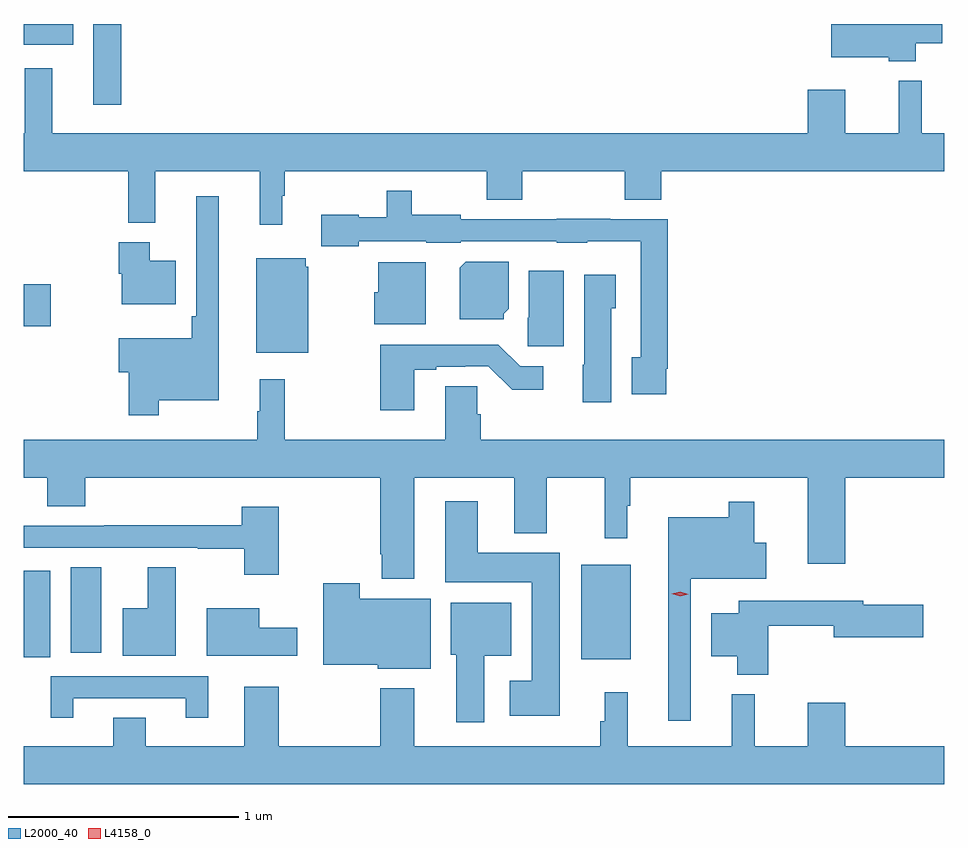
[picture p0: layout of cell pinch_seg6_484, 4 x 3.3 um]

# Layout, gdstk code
import gdstk
lib = gdstk.Library(unit=1e-6, precision=1e-09)
def R(c, l, rs):  # rectangles x0, y0, x1, y1
    for r in rs: c.add(gdstk.rectangle(r[:2], r[2:], *l))
def P(c, l, *ps):  # polygons
    for p in ps: c.add(gdstk.Polygon(p, *l))
L2000_40 = (2000, 40)
L4158_0 = (4158, 0)

pinch_seg6_484 = lib.new_cell('pinch_seg6_484')
R(pinch_seg6_484, L2000_40, [(847.34,939.887,847.555,940.297), (844.917,939.894,845.032,940.27), (845.12,939.915,845.254,940.286), (844.917,941.333,845.035,941.516), (845.219,942.297,845.341,942.647), (844.917,942.557,845.131,942.647)])
P(pinch_seg6_484, L2000_40, [(848.794,942.563),(848.908,942.563),(848.908,942.647),(848.426,942.647),(848.426,942.503),(848.676,942.503),(848.676,942.485),(848.794,942.485)],
  [(846.04,941.9),(846.052,941.9),(846.052,942.008),(846.928,942.008),(846.928,941.884),(847.083,941.884),(847.083,942.008),(847.528,942.008),(847.528,941.884),(847.688,941.884),(847.688,942.008),(848.917,942.008),(848.917,942.172),(848.819,942.172),(848.819,942.4),(848.719,942.4),(848.719,942.172),(848.488,942.172),(848.488,942.361),(848.324,942.361),(848.324,942.172),(845.041,942.172),(845.041,942.454),(844.92,942.454),(844.92,942.172),(844.917,942.172),(844.917,942.008),(845.371,942.008),(845.371,941.783),(845.489,941.783),(845.489,942.008),(845.942,942.008),(845.942,941.775),(846.04,941.775)],
  [(847.708,941.149),(847.715,941.149),(847.715,941.799),(847.465,941.799),(847.465,941.801),(847.233,941.801),(847.233,941.799),(846.816,941.799),(846.816,941.818),(846.604,941.818),(846.604,941.923),(846.495,941.923),(846.495,941.807),(846.372,941.807),(846.372,941.818),(846.21,941.818),(846.21,941.681),(846.372,941.681),(846.372,941.702),(846.666,941.702),(846.666,941.696),(846.816,941.696),(846.816,941.703),(847.233,941.703),(847.233,941.696),(847.365,941.696),(847.365,941.702),(847.599,941.702),(847.599,941.198),(847.559,941.198),(847.559,941.037),(847.708,941.037)],
  [(845.503,941.012),(845.764,941.012),(845.764,941.899),(845.667,941.899),(845.667,941.377),(845.647,941.377),(845.647,941.281),(845.33,941.281),(845.33,941.134),(845.374,941.134),(845.374,940.947),(845.503,940.947)],
  [(845.578,941.617),(845.464,941.617),(845.464,941.698),(845.33,941.698),(845.33,941.562),(845.342,941.562),(845.342,941.429),(845.578,941.429)],
  [(846.154,941.592),(846.142,941.592),(846.142,941.629),(845.927,941.629),(845.927,941.219),(846.154,941.219)],
  [(847.002,941.388),(847.024,941.41),(847.024,941.614),(846.838,941.614),(846.812,941.588),(846.812,941.363),(847.002,941.363)],
  [(846.664,941.612),(846.458,941.612),(846.458,941.481),(846.44,941.481),(846.44,941.342),(846.664,941.342)],
  [(847.264,941.575),(847.112,941.575),(847.112,941.37),(847.108,941.37),(847.108,941.247),(847.264,941.247)],
  [(847.471,941.412),(847.489,941.412),(847.489,941.557),(847.352,941.557),(847.352,941.166),(847.346,941.166),(847.346,941.004),(847.471,941.004)],
  [(846.613,941.145),(846.709,941.145),(846.709,941.157),(846.836,941.157),(846.836,941.16),(846.936,941.16),(847.039,941.058),(847.174,941.058),(847.174,941.16),(847.074,941.16),(846.98,941.254),(846.466,941.254),(846.466,940.968),(846.613,940.968)],
  [(846.613,940.676),(847.049,940.676),(847.049,940.433),(847.189,940.433),(847.189,940.676),(847.441,940.676),(847.441,940.413),(847.54,940.413),(847.54,940.553),(847.552,940.553),(847.552,940.676),(848.324,940.676),(848.324,940.302),(848.488,940.302),(848.488,940.676),(848.917,940.676),(848.917,940.84),(846.902,940.84),(846.902,940.95),(846.888,940.95),(846.888,941.072),(846.749,941.072),(846.749,940.84),(846.052,940.84),(846.052,941.104),(845.942,941.104),(845.942,940.964),(845.931,940.964),(845.931,940.84),(844.917,940.84),(844.917,940.676),(845.018,940.676),(845.018,940.552),(845.183,940.552),(845.183,940.676),(846.466,940.676),(846.466,940.342),(846.473,940.342),(846.473,940.235),(846.613,940.235)],
  [(847.246,940.348),(846.889,940.348),(846.889,940.573),(846.749,940.573),(846.749,940.22),(847.124,940.22),(847.124,939.793),(847.029,939.793),(847.029,939.641),(847.246,939.641)],
  [(847.815,940.235),(848.143,940.235),(848.143,940.393),(848.091,940.393),(848.091,940.57),(847.98,940.57),(847.98,940.504),(847.718,940.504),(847.718,939.618),(847.815,939.618)],
  [(846.024,940.549),(845.864,940.549),(845.864,940.469),(845.266,940.469),(845.266,940.467),(844.917,940.467),(844.917,940.371),(845.674,940.371),(845.674,940.366),(845.876,940.366),(845.876,940.254),(846.024,940.254)],
  [(845.578,940.286),(845.456,940.286),(845.456,940.108),(845.348,940.108),(845.348,939.902),(845.578,939.902)],
  [(846.685,940.15),(846.376,940.15),(846.376,940.216),(846.218,940.216),(846.218,939.863),(846.456,939.863),(846.456,939.845),(846.685,939.845)],
  [(848.153,940.032),(848.438,940.032),(848.438,939.982),(848.827,939.982),(848.827,940.124),(848.566,940.124),(848.566,940.141),(848.024,940.141),(848.024,940.087),(847.904,940.087),(847.904,939.899),(848.018,939.899),(848.018,939.818),(848.153,939.818)],
  [(846.919,939.902),(847.036,939.902),(847.036,940.132),(846.773,940.132),(846.773,939.906),(846.797,939.906),(846.797,939.612),(846.919,939.612)],
  [(846.106,940.024),(845.941,940.024),(845.941,940.108),(845.711,940.108),(845.711,939.902),(846.106,939.902)],
  [(845.131,939.717),(845.621,939.717),(845.621,939.633),(845.719,939.633),(845.719,939.813),(845.033,939.813),(845.033,939.633),(845.131,939.633)],
  [(848.917,939.508),(848.488,939.508),(848.488,939.697),(848.324,939.697),(848.324,939.508),(848.094,939.508),(848.094,939.733),(847.994,939.733),(847.994,939.508),(847.541,939.508),(847.541,939.742),(847.442,939.742),(847.442,939.617),(847.423,939.617),(847.423,939.508),(846.613,939.508),(846.613,939.76),(846.466,939.76),(846.466,939.508),(846.024,939.508),(846.024,939.766),(845.876,939.766),(845.876,939.508),(845.446,939.508),(845.446,939.632),(845.306,939.632),(845.306,939.508),(844.917,939.508),(844.917,939.344),(848.917,939.344)])
P(pinch_seg6_484, L4158_0, [(847.769,940.159),(847.734,940.171),(847.733,940.171),(847.734,940.171),(847.769,940.179),(847.804,940.168),(847.805,940.168),(847.804,940.168)])

lib.write_gds('pinch_seg6_484.gds')
